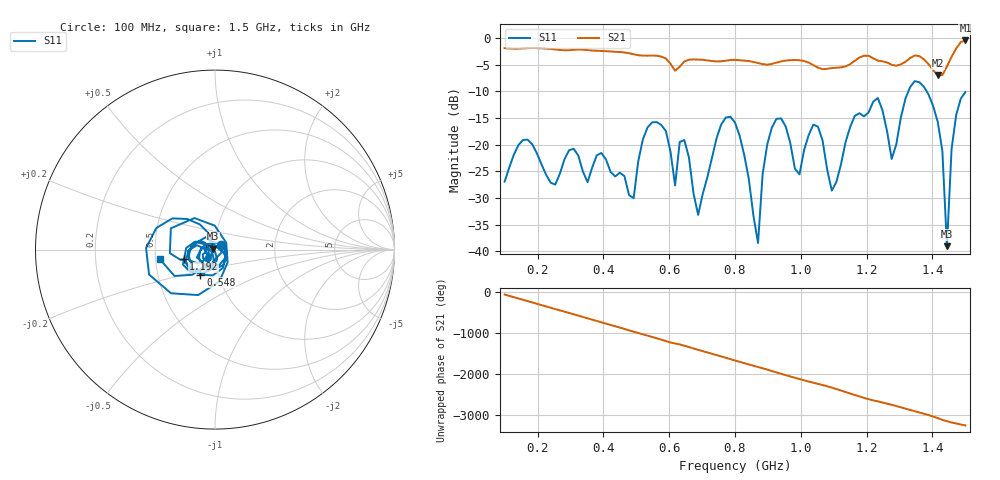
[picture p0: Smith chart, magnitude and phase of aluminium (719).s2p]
! NanoVNA-App
! Date: 2025-09-25 15:00:53
! Start: 100MHz Stop: 1,5GHz Points: 101
! S-Parameter data: F S11 S21 S12 S22
# Hz S RI R 50
!  Frequency  S11_Real  S11_Imag  S21_Real  S21_Imag  S12_Real  S12_Imag  S22_Real  S22_Imag
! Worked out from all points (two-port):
!   101 points, 100 MHz to 1.5 GHz, reference 50 ohm
!   highest |S21| = -0.48 dB at 1.5 GHz (marker M1); lowest = -7.0 dB at 1.416 GHz (marker M2)
!   |S21| within 3 dB of the highest: start of sweep to 573.4 MHz; 1.459 GHz to end of sweep (the widest 2 of 4)
!   lowest |S11| = -39.1 dB at 1.444 GHz (marker M3), VSWR 1.02, Z = 49 + j0.454 ohm
!   |S11| at or under -10 dB: start of sweep to 1.327 GHz; 1.382 GHz to end of sweep
!   S12 and S22 are empty: the file has one direction only
!   S11 on the Smith chart (normalised r, x): 100 MHz: 1.07, +0.06; 548 MHz: 0.82, -0.24; 1.192 GHz: 0.70, -0.08; 1.5 GHz: 0.53, -0.06
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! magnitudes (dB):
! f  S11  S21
! 100 MHz  -27.0  -1.9
! 338 MHz  -25.1  -2.2
! 492 MHz  -30.1  -3.1
! 548 MHz  -15.8  -3.3
! 576 MHz  -16.3  -3.5
! 618 MHz  -27.7  -6.1
! 646 MHz  -19.1  -4.4
! 688 MHz  -33.2  -4.1
! 800 MHz  -15.9  -4.1
! 870 MHz  -38.5  -4.7
! 912 MHz  -16.8  -4.9
! 996 MHz  -25.6  -4.2
! 1.038 GHz  -16.3  -5.1
! 1.094 GHz  -28.6  -5.7
! 1.192 GHz  -14.7  -3.4
! 1.234 GHz  -11.3  -4.3
! 1.276 GHz  -22.7  -5.0
! 1.346 GHz  -8.1  -3.3
! 1.416 GHz  -15.8  -7.0
! 1.444 GHz  -39.1  -5.4
! 1.458 GHz  -20.9  -3.6
! 1.5 GHz  -10.1  -0.5
